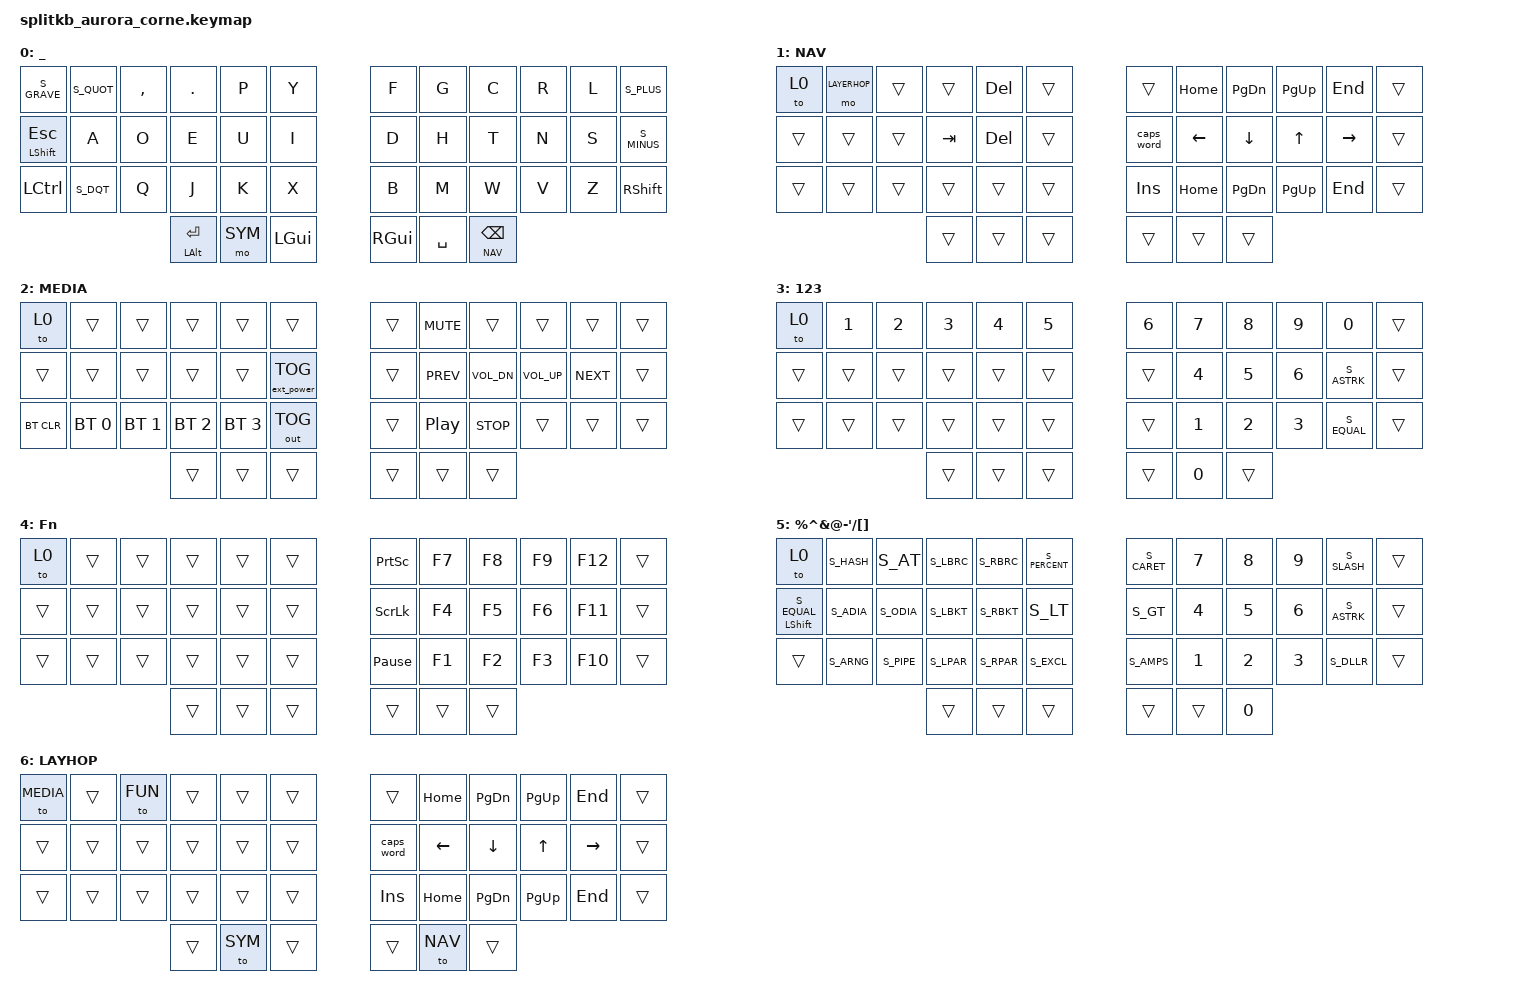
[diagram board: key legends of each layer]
/*
 * Copyright (c) 2020 The ZMK Contributors
 *
 * SPDX-License-Identifier: MIT
 */

#include <behaviors.dtsi>
#include <dt-bindings/zmk/keys.h>
#include <dt-bindings/zmk/bt.h>
#include <dt-bindings/zmk/outputs.h>
#include <dt-bindings/zmk/ext_power.h>

#include "swe.h"

#define NAV 1
#define MEDIA 2
#define NUM 3
#define FUN 4
#define SYM 5
#define LAYERHOP 6

&sk {
        release-after-ms = <2000>;
        quick-release;
};

/ {
        behaviors {
                hm: homerow_mods {
                        compatible = "zmk,behavior-hold-tap";
                        label = "HOMEROW_MODS";
                        #binding-cells = <2>;
                        tapping-term-ms = <200>;
                        quick-tap-ms = <0>;
                        flavor = "tap-preferred";
                        bindings = <&kp>, <&kp>;
                };
            };

        combos {
                compatible = "zmk,combos";
                combo_fun_layer { timeout-ms = <50>; key-positions = <0 37>; bindings = <&mo FUN>; };
                combo_media_layer { timeout-ms = <50>; key-positions = <0 41>; bindings = <&mo MEDIA>; };
                combo_esc { timeout-ms = <50>; key-positions = <16 17>; bindings = <&kp ESC>; };
                combo_1 { timeout-ms = <50>; key-positions = <1 13>; bindings = <&kp N1>; };
                combo_2 { timeout-ms = <50>; key-positions = <2 14>; bindings = <&kp N2>; };
                combo_3 { timeout-ms = <50>; key-positions = <3 15>; bindings = <&kp N3>; };
                combo_4 { timeout-ms = <50>; key-positions = <4 16>; bindings = <&kp N4>; };
                combo_5 { timeout-ms = <50>; key-positions = <5 17>; bindings = <&kp N5>; };
                combo_6 { timeout-ms = <50>; key-positions = <6 18>; bindings = <&kp N6>; };
                combo_7 { timeout-ms = <50>; key-positions = <7 19>; bindings = <&kp N7>; };
                combo_8 { timeout-ms = <50>; key-positions = <8 20>; bindings = <&kp N8>; };
                combo_9 { timeout-ms = <50>; key-positions = <9 21>; bindings = <&kp N9>; };
                combo_0 { timeout-ms = <50>; key-positions = <10 22>; bindings = <&kp N0>; };
        };

        keymap {
                compatible = "zmk,keymap";

                default_layer {
                        label = "_";
                        bindings = <
&kp S_GRAVE      &kp S_QUOT  &kp COMMA   &kp DOT     &kp P   &kp Y         &kp F   &kp G   &kp C   &kp R   &kp L   &kp S_PLUS
&hm LSHIFT ESC   &kp A       &kp O       &kp E       &kp U   &kp I         &kp D   &kp H   &kp T   &kp N   &kp S   &kp S_MINUS
&kp LCTRL        &kp S_DQT   &kp Q       &kp J       &kp K   &kp X         &kp B   &kp M   &kp W   &kp V   &kp Z   &kp RSHIFT

                                &hm LALT RET  &mo SYM  &kp LGUI            &kp RGUI  &kp SPACE  &lt NAV BSPC
                        >;
                };

                nav_layer {
                        label = "NAV";
                        bindings = <
&to 0     &mo LAYERHOP    &trans      &trans      &kp DEL     &trans              &trans          &kp HOME    &kp PG_DN   &kp PG_UP   &kp END     &trans
&trans    &trans          &trans      &kp TAB     &kp DEL     &trans              &caps_word      &kp LEFT    &kp DOWN    &kp UP      &kp RIGHT   &trans
&trans    &trans          &trans      &trans      &trans      &trans              &kp INSERT      &kp HOME    &kp PG_DN   &kp PG_UP   &kp END     &trans

                                      &trans      &trans      &trans              &trans          &trans      &trans
                        >;
                };

                media_layer {
                        label = "MEDIA";
                        bindings = <
&to 0       &trans          &trans          &trans          &trans          &trans                      &trans  &kp C_MUTE          &trans          &trans          &trans      &trans
&trans      &trans          &trans          &trans          &trans          &ext_power EP_TOG           &trans  &kp C_PREV          &kp C_VOL_DN    &kp C_VOL_UP    &kp C_NEXT  &trans
&bt BT_CLR  &bt BT_SEL 0    &bt BT_SEL 1    &bt BT_SEL 2    &bt BT_SEL 3    &out OUT_TOG                &trans  &kp C_PLAY_PAUSE    &kp C_STOP      &trans          &trans      &trans

                                            &trans          &trans          &trans                      &trans  &trans              &trans
                        >;
                };

                numbers_layer {
                        label = "123";
                        bindings = <
&to 0   &kp N1  &kp N2      &kp N3  &kp N4      &kp N5              &kp N6     &kp N7   &kp N8   &kp N9   &kp N0       &trans
&trans  &trans  &trans      &trans  &trans      &trans              &trans     &kp N4   &kp N5   &kp N6   &kp S_ASTRK  &trans
&trans  &trans  &trans      &trans  &trans      &trans              &trans     &kp N1   &kp N2   &kp N3   &kp S_EQUAL  &trans

                            &trans  &trans      &trans              &trans     &kp N0   &trans
                        >;
                };

                functions_layer {
                        label = "Fn";
                        bindings = <
&to 0   &trans  &trans      &trans  &trans      &trans              &kp PSCRN           &kp F7  &kp F8      &kp F9      &kp F12     &trans
&trans  &trans  &trans      &trans  &trans      &trans              &kp SLCK            &kp F4  &kp F5      &kp F6      &kp F11     &trans
&trans  &trans  &trans      &trans  &trans      &trans              &kp PAUSE_BREAK     &kp F1  &kp F2      &kp F3      &kp F10     &trans

                            &trans  &trans      &trans              &trans              &trans  &trans
                        >;
                };

                symbols_layer {
                        label = "%^&@-'/[]";
                        bindings = <
&to 0               &kp S_HASH   &kp S_AT      &kp S_LBRC    &kp S_RBRC   &kp S_PERCENT        &kp S_CARET   &kp N7   &kp N8   &kp N9  &kp S_SLASH  &trans
&hm LSHIFT S_EQUAL  &kp S_ADIA   &kp S_ODIA    &kp S_LBKT    &kp S_RBKT   &kp S_LT             &kp S_GT      &kp N4   &kp N5   &kp N6  &kp S_ASTRK  &trans
&trans              &kp S_ARNG   &kp S_PIPE    &kp S_LPAR    &kp S_RPAR   &kp S_EXCL           &kp S_AMPS    &kp N1   &kp N2   &kp N3  &kp S_DLLR   &trans

                                               &trans        &trans       &trans               &trans        &trans   &kp N0

                        >;
                };

                layer_hop_layer {
                        label = "LAYHOP";
                        bindings = <
&to MEDIA   &trans      &to FUN     &trans  &trans      &trans              &trans          &kp HOME    &kp PG_DN   &kp PG_UP   &kp END     &trans
&trans      &trans      &trans      &trans  &trans      &trans              &caps_word      &kp LEFT    &kp DOWN    &kp UP      &kp RIGHT   &trans
&trans      &trans      &trans      &trans  &trans      &trans              &kp INSERT      &kp HOME    &kp PG_DN   &kp PG_UP   &kp END     &trans

                                    &trans  &to SYM     &trans              &trans          &to NAV      &trans
                        >;
                };
        };
};
